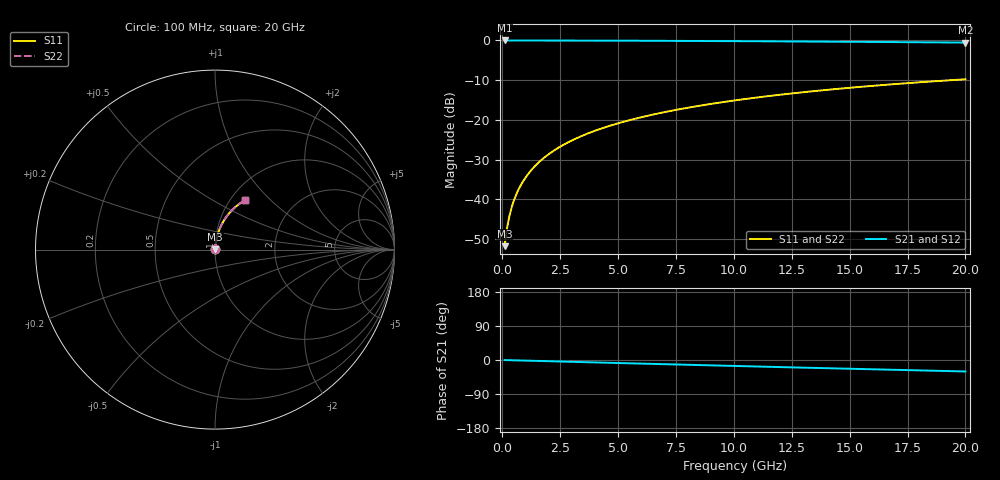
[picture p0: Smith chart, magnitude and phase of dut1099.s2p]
! Touchstone file exported from HFSS 2026.1.0
!  File:  C:/ffzhzh/LocalFiles/Ansys_Project_Files/temp_train_BSMRDL_1099_1783174746_18472.aedt
!  Generated:  10:20:23 PM Jul  4, 2026
!  Design:  BSMRDL
!  Project:  temp_train_BSMRDL_1099_1783174746_18472
! Variables:
!  h_bsmrdl = 4.56um
!  h_ox = 20um
!  h_rdl = 5um
!  h_sub = 80um
!  h_tmrdl = 5um
!  h_tsv = 80um
!  h_via = 3um
!  l_bsmrdl = 389.48um
!  l_sub = 789.48um
!  l_tmrdl = 200um
!  m_sub = 200um
!  pitch = 55.11um
!  r_tsv = 6um
!  s_tmrdl = 10um
!  w_bsmrdl = 19.97um
!  w_sub = 500um
!  w_tmrdl = 12um
!  x_tsv_center1 = 206um
!  x_tsv_center2 = 615.45um
!  x_tsv_center3 = 827.45um
!  x_tsv_center4 = 1236.9um
!  x_tsv_center5 = 1448.9um
!  x_tsv_center6 = 1858.35um
# GHz S MA R 50.000000
! Terminal data exported
! Port[1] = BSM_RDL1_1_T1
! Port[2] = BSM_RDL1_1_T2
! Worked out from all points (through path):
!   200 points, 100 MHz to 20 GHz, reference 50 ohm
!   highest |S21| = -0.01 dB at 100 MHz (marker M1); lowest = -0.5 dB at 20 GHz (marker M2)
!   group delay of S21, straight-line fit = 4.2 ps
!   lowest |S11| = -51.8 dB at 100 MHz (marker M3), VSWR 1.01, Z = 50.2 + j0.195 ohm
!   |S11| at or under -10 dB: start of sweep to 19.42 GHz
!   |S22| runs from -51.8 to -9.8 dB; largest |S21 - S12| = 2.8e-15
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0.1  0.002564 49.3  0.9983 -0.2  0.9983 -0.2  0.002564 49.3
! Gamma 0 0 0 0
! Port Impedance 50 0 50 0
0.2  0.004237 65.5  0.9983 -0.3  0.9983 -0.3  0.004237 65.5
0.3  0.00602 72.0  0.9982 -0.5  0.9982 -0.5  0.006022 72.0
0.4  0.007819 75.4  0.9981 -0.7  0.9981 -0.7  0.007821 75.4
0.5  0.009619 77.5  0.998 -0.8  0.998 -0.8  0.009622 77.5
0.7  0.01323 80.1  0.9979 -1.1  0.9979 -1.1  0.01323 80.0
0.8  0.01504 80.8  0.9979 -1.3  0.9979 -1.3  0.01504 80.8
1  0.01866 81.9  0.9978 -1.6  0.9978 -1.6  0.01867 81.8
1.2  0.0223 82.5  0.9976 -1.9  0.9976 -1.9  0.0223 82.4
1.4  0.02594 82.8  0.9975 -2.3  0.9975 -2.3  0.02594 82.8
1.7  0.03139 83.0  0.9972 -2.7  0.9972 -2.7  0.03139 83.0
2  0.03684 83.0  0.997 -3.2  0.997 -3.2  0.03684 83.0
2.7  0.0495 82.5  0.9961 -4.3  0.9961 -4.3  0.0495 82.5
3.5  0.06385 81.7  0.995 -5.6  0.995 -5.6  0.06385 81.7
4.2  0.07629 80.8  0.9938 -6.7  0.9938 -6.7  0.07629 80.8
5  0.09036 79.7  0.9922 -8.0  0.9922 -8.0  0.09036 79.7
6.8  0.1215 77.1  0.9881 -10.8  0.9881 -10.8  0.1215 77.1
8.3  0.1468 74.9  0.9841 -13.1  0.9841 -13.1  0.1468 74.9
10.1  0.1765 72.4  0.9787 -15.8  0.9787 -15.8  0.1765 72.3
13.4  0.2289 67.6  0.9671 -20.8  0.9671 -20.8  0.2289 67.6
16.7  0.2781 63.0  0.9536 -25.6  0.9536 -25.6  0.2781 63.0
20  0.324 58.5  0.9387 -30.3  0.9387 -30.3  0.324 58.4
